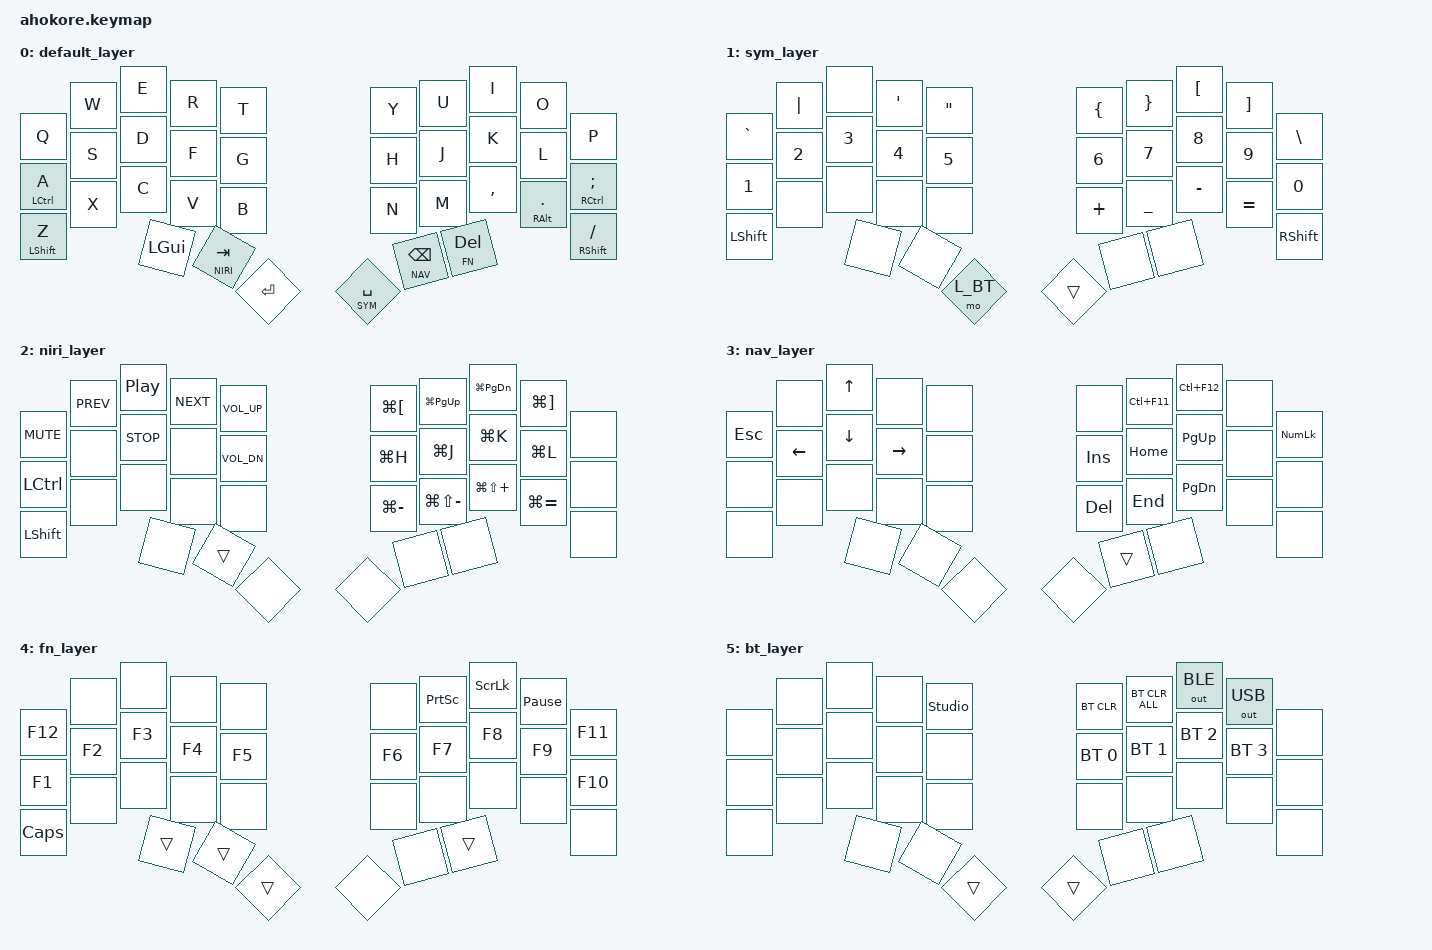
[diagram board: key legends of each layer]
// This file was generated from a template. Edit it to match your keyboard.
// See https://zmk.dev/docs/development/hardware-integration/new-shield for more instructions.


#include <behaviors.dtsi>
#include <dt-bindings/zmk/keys.h>
#include <dt-bindings/zmk/bt.h>
#include <dt-bindings/zmk/outputs.h>

#define DFLT 0
#define SYM 1
#define NIRI 2
#define NAV 3
#define FN 4
#define L_BT 5

#define KPPLS KP_PLUS
#define KPMNS KP_MINUS
#define KPEQL KP_EQUAL
#define KPMLT KP_MULTIPLY
#define KPDIV KP_DIVIDE
#define KPDOT KP_DOT

#define BT_C BT_CLR
#define BT_CA BT_CLR_ALL
#define BT_0 BT_SEL 0
#define BT_1 BT_SEL 1
#define BT_2 BT_SEL 2
#define BT_3 BT_SEL 3
#define BT_4 BT_SEL 4

#define VOLP C_VOL_UP
#define VOLM C_VOL_DN
#define MUTE C_MUTE
#define PREV C_PREV
#define PLYP C_PLAY_PAUSE
#define NEXT C_NEXT
#define STOP C_STOP
#define PSBK PAUSE_BREAK
#define NMLCK KP_NUM

#define Z_SHFT &ht_bl LSHIFT Z
#define FS_SHFT &ht_bl RSHIFT FSLH 
#define ALT_DOT &ht_tp RALT DOT
#define CTL_CLN &ht_tp RCTL SEMI 
#define CTL_A &ht_tp LCTL A


#define SYM_SPC &lt_qt SYM SPACE
#define SYM_RET &lt_qt SYM RET
#define NAV_BSP &lt_qt NAV BSPC
#define NIRI_TAB &lt NIRI TAB
#define DEL_FN &lt_qt FN DEL
#define WSPC_RET &lt_qt WSPC RET 
#define O_USB &out OUT_USB
#define O_BLE &out OUT_BLE

#define CB_PRV &kp LC(F11) // Clipboard previous
#define CB_NXT &kp LC(F12) // Clipboard next
// Shift to previous (up) workspace
#define WS_PRV &kp LG(PG_UP) // Previous workspace
// Shift to next (down) workspace
#define WS_NXT &kp LG(PG_DN) // Previous workspace
// Move window to previous workspace
#define WS_W_PRV &kp LC(LG(PG_UP)) // Previous workspace
// Move window to next workspace
#define WS_W_NXT &kp LC(LG(PG_DN)) // Previous workspace
// Move window to column left or right
#define WIN_LFT &kp LG(LBKT) 
#define WIN_RGT &kp LG(RBKT) 
// Shrink/grow column
#define COL_DEC &kp LG(MINUS)
#define COL_INC &kp LG(EQUAL)
// Shrink/grow column
#define ROW_DEC &kp LG(LS(MINUS))
#define ROW_INC &kp LG(LS(PLUS))

/ {

   behaviors {
        ht_tp: homerow_mods {
            compatible = "zmk,behavior-hold-tap";
            #label = "homerow mods";
            #binding-cells = <2>;
            tapping-term-ms = <200>;
            flavor = "tap-preferred";
            bindings = <&kp>, <&kp>;
        };

        ht_bl: holdtap_balanced {
            compatible = "zmk,behavior-hold-tap";
            #label = "hold-tap balanced";
            #binding-cells = <2>;
            tapping-term-ms = <150>;
            flavor = "balanced";
            bindings = <&kp>, <&kp>;
        };

        lt_qt: layertap_quicktap {
            compatible = "zmk,behavior-hold-tap";
            #label = "layer-tap quicktap";
            #binding-cells = <2>;
            tapping-term-ms = <150>;
            flavor = "balanced";
            bindings = <&mo>, <&kp>;
            quick-tap-ms=<200>;
        };

    };

  keymap {
        compatible = "zmk,keymap";

        default_layer {
            bindings = <
//┌─────────┬─────────┬─────────┬─────────┬─────────┐    ┌─────────┬─────────┬─────────┬─────────┬─────────┐
     &kp Q     &kp W     &kp E     &kp R     &kp T          &kp Y     &kp U     &kp I     &kp O     &kp P    
//├─────────┼─────────┼─────────┼─────────┼─────────┤    ├─────────┼─────────┼─────────┼─────────┼─────────┤
     CTL_A     &kp S     &kp D     &kp F     &kp G          &kp H     &kp J     &kp K     &kp L    CTL_CLN
//├─────────┼─────────┼─────────┼─────────┼─────────┤    ├─────────┼─────────┼─────────┼─────────┼─────────┤
     Z_SHFT    &kp X     &kp C     &kp V     &kp B          &kp N     &kp M   &kp COMMA  ALT_DOT   FS_SHFT 
//└─────────┴─────────┼─────────┼─────────┼─────────┤    ├─────────┼─────────┼─────────┼─────────┴─────────┘
                       &kp LGUI  NIRI_TAB  &kp RET        SYM_SPC   NAV_BSP   DEL_FN
//                    └─────────┴─────────┴─────────┘    └─────────┴─────────┴─────────┘
            >;
        };

         sym_layer {
            bindings = <
//┌─────────┬─────────┬─────────┬─────────┬─────────┐    ┌─────────┬─────────┬─────────┬─────────┬─────────┐
   &kp GRAVE &kp PIPE  &none     &kp SQT   &kp DQT        &kp LBRC  &kp RBRC  &kp LBKT  &kp RBKT  &kp BSLH  
//├─────────┼─────────┼─────────┼─────────┼─────────┤    ├─────────┼─────────┼─────────┼─────────┼─────────┤
   &kp N1    &kp N2    &kp N3    &kp N4    &kp N5         &kp N6    &kp N7    &kp N8    &kp N9    &kp N0    
//├─────────┼─────────┼─────────┼─────────┼─────────┤    ├─────────┼─────────┼─────────┼─────────┼─────────┤
   &kp LSHFT &none     &none     &none     &none          &kp PLUS  &kp UNDER &kp MINUS &kp EQUAL &kp RSHFT
//└─────────┴─────────┼─────────┼─────────┼─────────┤    ├─────────┼─────────┼─────────┼─────────┴─────────┘
                       &none     &none     &mo L_BT       &trans    &none     &none
//                    └─────────┴─────────┴─────────┘    └─────────┴─────────┴─────────┘
            >;
        };

         niri_layer {
            bindings = <
//┌─────────┬─────────┬─────────┬─────────┬─────────┐    ┌─────────┬─────────┬─────────┬─────────┬─────────┐
   &kp MUTE  &kp PREV  &kp PLYP  &kp NEXT  &kp VOLP       WIN_LFT   WS_PRV    WS_NXT    WIN_RGT   &none
//├─────────┼─────────┼─────────┼─────────┼─────────┤    ├─────────┼─────────┼─────────┼─────────┼─────────┤
   &kp LCTL  &none     &kp STOP  &none     &kp VOLM       &kp LG(H) &kp LG(J) &kp LG(K) &kp LG(L) &none  
//├─────────┼─────────┼─────────┼─────────┼─────────┤    ├─────────┼─────────┼─────────┼─────────┼─────────┤
   &kp LSHFT &none     &none     &none     &none          COL_DEC   ROW_DEC   ROW_INC   COL_INC   &none
//└─────────┴─────────┼─────────┼─────────┼─────────┤    ├─────────┼─────────┼─────────┼─────────┴─────────┘
                       &none     &trans    &none          &none     &none     &none
//                    └─────────┴─────────┴─────────┘    └─────────┴─────────┴─────────┘
            >;
        };


        nav_layer {
            bindings = <
//┌─────────┬─────────┬─────────┬─────────┬─────────┐    ┌─────────┬─────────┬─────────┬─────────┬─────────┐
   &kp ESC   &none     &kp UP    &none     &none          &none     CB_PRV    CB_NXT    &none     &kp NMLCK    
//├─────────┼─────────┼─────────┼─────────┼─────────┤    ├─────────┼─────────┼─────────┼─────────┼─────────┤
   &none     &kp LEFT  &kp DOWN  &kp RIGHT &none          &kp INS   &kp HOME  &kp PG_UP &none     &none 
//├─────────┼─────────┼─────────┼─────────┼─────────┤    ├─────────┼─────────┼─────────┼─────────┼─────────┤
   &none     &none     &none     &none     &none          &kp DEL   &kp END   &kp PG_DN &none     &none 
//└─────────┴─────────┼─────────┼─────────┼─────────┤    ├─────────┼─────────┼─────────┼─────────┴─────────┘
                       &none     &none     &none          &none     &trans    &none
//                    └─────────┴─────────┴─────────┘    └─────────┴─────────┴─────────┘
            >;
        };

        fn_layer {
            bindings = <
//┌─────────┬─────────┬─────────┬─────────┬─────────┐    ┌─────────┬─────────┬─────────┬─────────┬─────────┐
   &kp F12   &none     &none     &none     &none          &none     &kp PSCRN &kp SLCK  &kp PSBK  &kp F11  
//├─────────┼─────────┼─────────┼─────────┼─────────┤    ├─────────┼─────────┼─────────┼─────────┼─────────┤
   &kp F1    &kp F2    &kp F3    &kp F4    &kp F5         &kp F6    &kp F7    &kp F8    &kp F9    &kp F10  
//├─────────┼─────────┼─────────┼─────────┼─────────┤    ├─────────┼─────────┼─────────┼─────────┼─────────┤
   &kp CAPS  &none     &none     &none     &none          &none     &none     &none     &none     &none
//└─────────┴─────────┼─────────┼─────────┼─────────┤    ├─────────┼─────────┼─────────┼─────────┴─────────┘
                       &trans    &trans    &trans         &none     &none     &trans
//                    └─────────┴─────────┴─────────┘    └─────────┴─────────┴─────────┘
            >;
        };

      bt_layer {
            bindings = <
//┌─────────┬─────────┬─────────┬─────────┬─────────┐    ┌─────────┬─────────┬─────────┬─────────┬─────────┐
   &none     &none     &none     &none     &studio_unlock &bt BT_C  &bt BT_CA O_BLE     O_USB     &none     
//├─────────┼─────────┼─────────┼─────────┼─────────┤    ├─────────┼─────────┼─────────┼─────────┼─────────┤
   &none     &none     &none     &none     &none          &bt BT_0  &bt BT_1  &bt BT_2  &bt BT_3  &none     
//├─────────┼─────────┼─────────┼─────────┼─────────┤    ├─────────┼─────────┼─────────┼─────────┼─────────┤
   &none     &none     &none     &none     &none          &none     &none     &none     &none     &none
//└─────────┴─────────┼─────────┼─────────┼─────────┤    ├─────────┼─────────┼─────────┼─────────┴─────────┘
                       &none     &none     &trans         &trans    &none     &none 
//                    └─────────┴─────────┴─────────┘    └─────────┴─────────┴─────────┘
            >;
        };



    };
};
